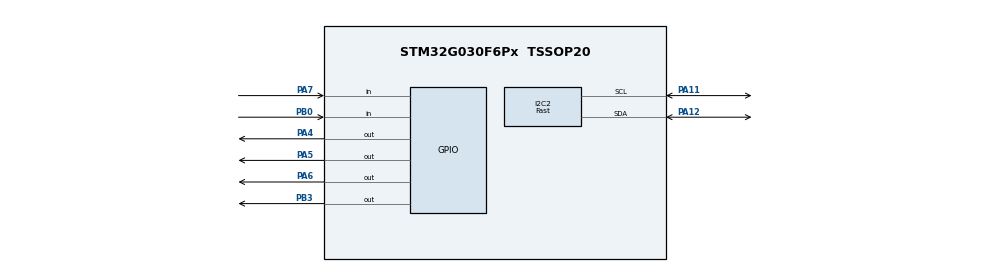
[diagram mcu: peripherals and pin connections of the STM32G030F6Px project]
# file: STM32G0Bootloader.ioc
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CRC.DefaultInitValueUse=DEFAULT_INIT_VALUE_DISABLE
CRC.InitValue=0xffffffff
CRC.InputDataInversionMode=CRC_INPUTDATA_INVERSION_BYTE
CRC.OutputDataInversionMode=CRC_OUTPUTDATA_INVERSION_ENABLE
I2C2.I2C_Speed_Mode=I2C_Fast
I2C2.OwnAddress=0x54<<1
I2C2.Timing=0x0010061A
Mcu.Family=STM32G0
Mcu.Name=STM32G030F6Px
Mcu.Package=TSSOP20
NVIC.I2C2_IRQn=true\:0\:0\:false\:false\:true\:true\:true\:true
PA11\ [PA9].Mode=I2C
PA11\ [PA9].Signal=I2C2_SCL
PA12\ [PA10].Mode=I2C
PA12\ [PA10].Signal=I2C2_SDA
PA13.Mode=Serial_Wire
PA13.Signal=SYS_SWDIO
PA14-BOOT0.Mode=Serial_Wire
PA14-BOOT0.Signal=SYS_SWCLK
PA14-BOOT0__PA15.StandardMode=true
PA4.Signal=GPIO_Output
PA5.Signal=GPIO_Output
PA6.Signal=GPIO_Output
PA7.Signal=GPIO_Input
PB0.Signal=GPIO_Input
PB0__PB1__PB2__PA8.StandardMode=true
PB3.Signal=GPIO_Output
PB3__PB4__PB5__PB6.StandardMode=true
PB7__PB8.StandardMode=true
PC14-OSC32_IN\ (PC14)__PB9.StandardMode=true
ProjectManager.HeapSize=0x200
ProjectManager.StackSize=0x400
ProjectManager.TargetToolchain=MDK-ARM V5
RCC.AHBFreq_Value=16000000
RCC.CortexFreq_Value=16000000
RCC.EXTERNAL_CLOCK_VALUE=12288000
RCC.HCLKFreq_Value=16000000
RCC.HSE_VALUE=8000000
RCC.HSI_VALUE=16000000
RCC.LSE_VALUE=32768
RCC.SYSCLKFreq_VALUE=16000000
RCC.VCOOutputFreq_Value=128000000
VP_CRC_VS_CRC.Mode=CRC_Activate
board=custom

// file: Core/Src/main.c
/* USER CODE BEGIN Header */
/**
  ******************************************************************************
  * @file           : main.c
  * @brief          : Main program body
  ******************************************************************************
  * @attention
  *
  * Copyright (c) 2023 STMicroelectronics.
  * All rights reserved.
  *
  * This software is licensed under terms that can be found in the LICENSE file
  * in the root directory of this software component.
  * If no LICENSE file comes with this software, it is provided AS-IS.
  *
  ******************************************************************************
  */
/* USER CODE END Header */
#include "main.h"

/* USER CODE BEGIN Includes */
#include "stm32g0xx_hal_flash_ex.h"
/* USER CODE END Includes */

/* USER CODE BEGIN PTD */
typedef enum {NOEVENT = 0, //not enevt happen
              EVENT_OPCOD_NOTYET_READ = 1,//operation code not been read
              EVENT_OPCOD_READ =2,//operation code has been readed
              EVENT_OPCOD_SEND =3,//Feedback the status of MCU
              EVENT_OPCOD_BUSY_RECEIVE =4//I2C is in Busy of receive status
             // EVENT_OPCOD_BUSY_SEND =5 //i2C is busy of send
}EventStatus;
/* USER CODE END PTD */

/* USER CODE BEGIN PD */
typedef  void (*pFunction)(void);
/*this address is define */
#define APPLICATION_ADDRESS  0x08001800
#define FW_LENGTH (((uint32_t)0x7800) - ((uint32_t)0x1800))
#define FW_CRC_ADDR (((uint32_t)0x08007800) - 4)

/* Error codes used to make the red led blinking */
#define ERROR_ERASE 0x01
#define ERROR_PROG  0x02
#define ERROR_HALF_PROG 0x04
#define ERROR_PROG_FLAG 0x08
#define ERROR_WRITE_PROTECTION 0x10
#define ERROR_FETCH_DURING_ERASE 0x20
#define ERROR_FETCH_DURING_PROG 0x40
#define ERROR_SIZE 0x80
#define ERROR_ALIGNMENT 0x100
#define ERROR_NOT_ZERO 0x200
#define ERROR_UNKNOWN 0x400
#define ERROR_I2C       0x01
#define ERROR_HSI_TIMEOUT 0x55
#define ERROR_PLL_TIMEOUT 0xAA
#define ERROR_CLKSWITCH_TIMEOUT 0xBB

//#define  OPC_READ       (uint8_t)(0x03)
#define  OPC_WREN       (uint8_t)(0x06)
//#define  OPC_ERPG       (uint8_t)(0x20)
//#define  OPC_ERUSM      (uint8_t)(0x44)
#define  OPC_USRCD      (uint8_t)(0x77)

#define STM32G0xx_PAGE_SIZE 0x800
#define STM32G0xx_FLASH_PAGE0_STARTADDR 0x8000000
#define STM32G0xx_FLASH_PAGE1_STARTADDR (STM32G0xx_FLASH_PAGE0_STARTADDR+STM32G0xx_PAGE_SIZE)
#define STM32G0xx_FLASH_PAGE2_STARTADDR (STM32G0xx_FLASH_PAGE0_STARTADDR+2*STM32G0xx_PAGE_SIZE)
#define STM32G0xx_FLASH_PAGE3_STARTADDR (STM32G0xx_FLASH_PAGE0_STARTADDR+3*STM32G0xx_PAGE_SIZE)
#define STM32G0xx_FLASH_PAGE4_STARTADDR (STM32G0xx_FLASH_PAGE0_STARTADDR+4*STM32G0xx_PAGE_SIZE)
#define STM32G0xx_FLASH_PAGE5_STARTADDR (STM32G0xx_FLASH_PAGE0_STARTADDR+5*STM32G0xx_PAGE_SIZE)
#define STM32G0xx_FLASH_PAGE6_STARTADDR (STM32G0xx_FLASH_PAGE0_STARTADDR+6*STM32G0xx_PAGE_SIZE)
#define STM32G0xx_FLASH_PAGE7_STARTADDR (STM32G0xx_FLASH_PAGE0_STARTADDR+7*STM32G0xx_PAGE_SIZE)
#define STM32G0xx_FLASH_PAGE8_STARTADDR (STM32G0xx_FLASH_PAGE0_STARTADDR+8*STM32G0xx_PAGE_SIZE)
#define STM32G0xx_FLASH_PAGE9_STARTADDR (STM32G0xx_FLASH_PAGE0_STARTADDR+9*STM32G0xx_PAGE_SIZE)
#define STM32G0xx_FLASH_PAGE10_STARTADDR (STM32G0xx_FLASH_PAGE0_STARTADDR+10*STM32G0xx_PAGE_SIZE)
#define STM32G0xx_FLASH_PAGE11_STARTADDR (STM32G0xx_FLASH_PAGE0_STARTADDR+11*STM32G0xx_PAGE_SIZE)
#define STM32G0xx_FLASH_PAGE12_STARTADDR (STM32G0xx_FLASH_PAGE0_STARTADDR+12*STM32G0xx_PAGE_SIZE)
#define STM32G0xx_FLASH_PAGE13_STARTADDR (STM32G0xx_FLASH_PAGE0_STARTADDR+13*STM32G0xx_PAGE_SIZE)
#define STM32G0xx_FLASH_PAGE14_STARTADDR (STM32G0xx_FLASH_PAGE0_STARTADDR+14*STM32G0xx_PAGE_SIZE)
#define STM32G0xx_FLASH_PAGE15_STARTADDR (STM32G0xx_FLASH_PAGE0_STARTADDR+15*STM32G0xx_PAGE_SIZE)

// #define FLASH_PAGE_SIZE         ((uint32_t)0x00000800)   /* FLASH Page Size */
#define FLASH_USER_START_ADDR   STM32G0xx_FLASH_PAGE5_STARTADDR   /* Start @ of user Flash area */
#define FLASH_USER_END_ADDR     STM32G0xx_FLASH_PAGE6_STARTADDR   /* End @ of user Flash area */
#define DATA_32                 ((uint32_t)0x22446688)
/* USER CODE END PD */

CRC_HandleTypeDef hcrc;

/* USER CODE BEGIN PV */
uint16_t I2C_Receive_Counter=0;
//uint8_t I2C_Send_Counter=0;
uint8_t Receive_Buffer[2056];
EventStatus i2c_event= NOEVENT;
volatile uint16_t error;
uint32_t NbrOfPage = 0x00;
uint32_t EraseCounter = 0x00, Address = 0x00;
// __IO FLASH_Status FLASHStatus = FLASH_COMPLETE;
// __IO TestStatus MemoryProgramStatus = PASSED;
uint32_t JumpAddress;
pFunction JumpToApplication;
uint8_t opcode;
/* USER CODE END PV */

void SystemClock_Config(void);
static void MX_GPIO_Init(void);
static void MX_I2C2_Init(void);
static void MX_CRC_Init(void);

/* USER CODE BEGIN 0 */
uint8_t compute_fw_crc32(void)
{
    uint32_t crcsum, crc_read, len;
    uint8_t *pdata = (uint8_t*)APPLICATION_ADDRESS;

    len = FW_LENGTH - 4;
    crc_read = *(uint32_t*)FW_CRC_ADDR;

    crcsum = HAL_CRC_Calculate(&hcrc, (uint32_t *)pdata, len)^0xffffffff;
    // crcsum = My_CRC(pdata, len);

    if (crc_read == crcsum)
        return 1;
    else
        return 0;
}
/**
  * @brief  Gets the page of a given address
  * @param  Addr: Address of the FLASH Memory
  * @retval The page of a given address
  */
static uint32_t GetPage(uint32_t Addr)
{
  return (Addr - STM32G0xx_FLASH_PAGE0_STARTADDR) / FLASH_PAGE_SIZE;;
}

/**
  * Brief   This function handles I2C2 interrupt request.
  * Param   None
  * Retval  I2C2 always as slave of i2c conmunication
  */
void I2C2_IRQHandler(void)
{
	uint32_t I2C_InterruptStatus = I2C2->ISR; /* Get interrupt status */

  if((I2C_InterruptStatus & I2C_ISR_ADDR) == I2C_ISR_ADDR) /* Check address match */
  {
    I2C2->ICR |= I2C_ICR_ADDRCF;                        /* Clear address match flag*/

    if((I2C2->ISR & I2C_ISR_DIR) == I2C_ISR_DIR) /* Check if transfer direction is read (slave transmitter) */
    {
      I2C2->CR1 |= I2C_CR1_TXIE;        /* Set transmit IT /status*/
      i2c_event=EVENT_OPCOD_SEND;              /* Set I2C  entor transmit mode*/

    }
    else   /*Write operation, slave receive status*/
    {
      I2C2->CR1 |= I2C_CR1_RXIE; /* Set receive IT /status*/
      i2c_event=EVENT_OPCOD_BUSY_RECEIVE; /* Set I2C  entor receive mode*/
    }

   I2C2->CR1 |=I2C_CR1_STOPIE;//Enable STOP interrupt

  }
  else if((I2C_InterruptStatus & I2C_ISR_TXIS) == I2C_ISR_TXIS)
  {
    //add some application code in this place
  }
      /*check RXDR is not empty*/
  else if((I2C_InterruptStatus & I2C_ISR_RXNE) == I2C_ISR_RXNE)
  {
    //I2C_ISR_RXNE add you code in this place Tomas Li add
    Receive_Buffer[I2C_Receive_Counter++]= I2C2->RXDR;
    i2c_event=EVENT_OPCOD_BUSY_RECEIVE;//slave is busy for receive data

  }
  else if((I2C_InterruptStatus & I2C_ISR_NACKF) == I2C_ISR_NACKF)
  {

  }
  /*check Stop event happen */
  if((I2C_InterruptStatus & I2C_ISR_STOPF) == I2C_ISR_STOPF)
  {

      I2C2->ICR |=I2C_ICR_STOPCF;//clear the STOP interrupt Flag

#if 1
    switch(i2c_event){
    case EVENT_OPCOD_BUSY_RECEIVE://slave receive status Stop flag
      I2C_Receive_Counter=0;
      i2c_event = EVENT_OPCOD_NOTYET_READ;

      I2C2->CR1 &= ~(I2C_CR1_STOPIE); //Disable all interrupt.except Error interrupt
      I2C2->CR2 |= I2C_CR2_NACK;//set feedback Nack in next event
      I2C2->CR1 |= I2C_CR1_ADDRIE;
        break;
    case EVENT_OPCOD_SEND: //slave send stop
      I2C2->ICR |=I2C_ICR_STOPCF | I2C_ICR_NACKCF |I2C_ICR_BERRCF;//clear the STOP interrupt Flag
      I2C2->CR1 |=I2C_CR1_ADDRIE;
      i2c_event = NOEVENT;

        break;
    default:

        break;

    }
#endif

  }
  else
  {
    error = ERROR_I2C; /* Report an error */

  }
}

void Reset_AllPeriph(void)
{
  LL_I2C_DeInit(I2C2);
  LL_I2C_DisableAutoEndMode(I2C2);
  LL_I2C_Disable(I2C2);
  LL_I2C_DisableIT_ADDR(I2C2);
  SysTick->CTRL=0;
  SYSCFG->CFGR1 &= SYSCFG_CFGR1_MEM_MODE;
  NVIC->ICER[0] = 0xFFFFFFFF;
  NVIC->ICPR[0] = 0xFFFFFFFF;
  /* Set EXTICRx registers to reset value */
  EXTI->EXTICR[0] = 0;
  EXTI->EXTICR[1] = 0;
  EXTI->EXTICR[2] = 0;
  EXTI->EXTICR[3] = 0;
  /* Set CFGR2 register to reset value: clear SRAM parity error flag */
  SYSCFG->CFGR2 |= (uint32_t) SYSCFG_CFGR2_SRAM_PE;
  LL_RCC_DeInit();
  __HAL_SYSCFG_CLEAR_FLAG();
	HAL_CRC_DeInit(&hcrc);
	HAL_DeInit();
	SysTick->CTRL = 0;
	SysTick->LOAD = 0;
	SysTick->VAL = 0;
}

void Jump_APP(void)
{
  if (compute_fw_crc32()) {
      /*check the application address context whether avilible*/
                if (((*(__IO uint32_t*)APPLICATION_ADDRESS) & 0x2FFE0000 ) == 0x20000000)
                {
                  Reset_AllPeriph();
                  SCB->VTOR = APPLICATION_ADDRESS;
                  /* Jump to user application */
                  JumpAddress = *(__IO uint32_t*) (APPLICATION_ADDRESS +4);
                  JumpToApplication = (pFunction) JumpAddress;
                  /* Initialize user application's Stack Pointer */
                  __set_MSP(*(__IO uint32_t*) APPLICATION_ADDRESS);
                  JumpToApplication();
                }
  }

}

void Write_Code(void)
{
    uint16_t Number_Bytes_Transferred = 0;
    uint32_t Add_Flash, end_add_flash;
    uint64_t Data = 0;
    uint16_t Data_index = 8;
    uint32_t PageError = 0;                    //设置PageError,如果出现错误这个变量会被设置为出错的FLASH地址
    FLASH_EraseInitTypeDef My_Flash;
    uint32_t PageNum = 0;

    Add_Flash = Receive_Buffer[1]<<24|
                Receive_Buffer[2]<<16|
                Receive_Buffer[3]<<8|
                Receive_Buffer[4]<<0;
    end_add_flash = Add_Flash + 2048;

    Number_Bytes_Transferred=(Receive_Buffer[5]<<8)+ Receive_Buffer[6];

    if(Number_Bytes_Transferred > 0)
    {
      if(__HAL_FLASH_GET_FLAG(FLASH_FLAG_CFGBSY) != 0x00U) {
        *(uint32_t *)(Add_Flash + 600) = 12323;
        FLASH->SR = FLASH_SR_CLEAR;
      }
step_unlock:
      if(HAL_FLASH_Unlock() != HAL_OK) {
        goto step_unlock;
      }

      PageNum = GetPage(Add_Flash);

      My_Flash.TypeErase = FLASH_TYPEERASE_PAGES;  //标明Flash执行页面只做擦除操作
      My_Flash.Page        = PageNum;
      My_Flash.NbPages = 1;                        //说明要擦除的页数，此参数必须是Min_Data = 1和Max_Data =(�????大页�????-初始页的�????)之间的�??

step_erase:
      FLASH_WaitForLastOperation(50);
      if (HAL_FLASHEx_Erase(&My_Flash, &PageError) != HAL_OK) {
        goto step_erase;
      }  //调用擦除函数擦除

      while (Add_Flash < end_add_flash) {
        Data = Receive_Buffer[Data_index] | ((uint64_t)Receive_Buffer[Data_index+1] << 8) \
        | ((uint64_t)Receive_Buffer[Data_index+2] << 16) | ((uint64_t)Receive_Buffer[Data_index+3] << 24) \
        | ((uint64_t)Receive_Buffer[Data_index+4] << 32) | ((uint64_t)Receive_Buffer[Data_index+5] << 40) \
        | ((uint64_t)Receive_Buffer[Data_index+6] << 48) | ((uint64_t)Receive_Buffer[Data_index+7] << 56);

step_write:
        FLASH_WaitForLastOperation(50);
        if (HAL_FLASH_Program(FLASH_TYPEPROGRAM_DOUBLEWORD, Add_Flash, Data) != HAL_OK)
        {
          goto step_write;
        }
        Add_Flash = Add_Flash + 8;
        Data_index = Data_index + 8;
        // else
        // {
        //   /* Error occurred while writing data in Flash memory.
        //     User can add here some code to deal with this error */
        //   while (1)
        //   {
        //   }
        // }
      }
      HAL_FLASH_Lock();
      FLASH_WaitForLastOperation(50);
    }
    for (int i = 0; i < sizeof(Receive_Buffer); i++) {
      Receive_Buffer[i] = 0;
    }

}

void iap_i2c(void)
{

  /*this is a endless loop for process the data from Host side*/
  while(1)
  {
    //Tomas_Li_Test();//Just for Test

    if (i2c_event == EVENT_OPCOD_NOTYET_READ)
    {

      NVIC_DisableIRQ(I2C2_IRQn);
      i2c_event=NOEVENT;//changed the status
      /* Read opcode */
      opcode = Receive_Buffer[0];
      switch (opcode)
      {
          case OPC_WREN:
            Write_Code();
            break;

          case OPC_USRCD:
            Jump_APP();
            // HAL_NVIC_SystemReset();
            break;

          default:
          break;
      }
      NVIC_EnableIRQ(I2C2_IRQn);
      I2C2->CR1 |=I2C_CR1_ADDRIE;//Open address and Stop interrupt
      LL_I2C_Enable(I2C2);
      LL_I2C_EnableIT_ADDR(I2C2);

    }
  }
}

static void iap_gpio_init(void)
{
  GPIO_InitTypeDef GPIO_InitStruct = {0};

  /* GPIO Ports Clock Enable */
  __HAL_RCC_GPIOB_CLK_ENABLE();
  __HAL_RCC_GPIOC_CLK_ENABLE();
  __HAL_RCC_GPIOA_CLK_ENABLE();

  /*Configure GPIO pin Output Level */
  HAL_GPIO_WritePin(GPIOA, GPIO_PIN_11, GPIO_PIN_RESET);

  /*Configure GPIO pin Output Level */
  HAL_GPIO_WritePin(GPIOA, GPIO_PIN_12, GPIO_PIN_RESET);

  /*Configure GPIO pin : PB7 */
  GPIO_InitStruct.Pin = GPIO_PIN_11;
  GPIO_InitStruct.Mode = GPIO_MODE_INPUT;
  GPIO_InitStruct.Pull = GPIO_PULLUP;
  GPIO_InitStruct.Speed = GPIO_SPEED_FREQ_LOW;
  HAL_GPIO_Init(GPIOA, &GPIO_InitStruct);

  /*Configure GPIO pin : PC14 */
  GPIO_InitStruct.Pin = GPIO_PIN_12;
  GPIO_InitStruct.Mode = GPIO_MODE_INPUT;
  GPIO_InitStruct.Pull = GPIO_PULLUP;
  GPIO_InitStruct.Speed = GPIO_SPEED_FREQ_LOW;
  HAL_GPIO_Init(GPIOA, &GPIO_InitStruct);
}
/* USER CODE END 0 */

int main(void)
{

  /* MCU Configuration--------------------------------------------------------*/

  /* Reset of all peripherals, Initializes the Flash interface and the Systick. */
  HAL_Init();

  /* Configure the system clock */
  SystemClock_Config();

  /* Initialize all configured peripherals */
  MX_GPIO_Init();
  // MX_I2C2_Init();
  MX_CRC_Init();
  /* USER CODE BEGIN 2 */
  iap_gpio_init();

  LL_mDelay(300);
  if ((!(!!(GPIOA->IDR & GPIO_PIN_11))) && (!(!!(GPIOA->IDR & GPIO_PIN_12)))) {
    MX_I2C2_Init();
    LL_I2C_Enable(I2C2);
    LL_I2C_EnableIT_ADDR(I2C2);
    iap_i2c();
  } else {
    Jump_APP();
    MX_I2C2_Init();
    LL_I2C_Enable(I2C2);
    LL_I2C_EnableIT_ADDR(I2C2);
    iap_i2c();
  }
  /* USER CODE END 2 */

  /* Infinite loop */
  while (1)
  {

  }
}

void SystemClock_Config(void)
{
  /* HSI configuration and activation */
  LL_RCC_HSI_Enable();
  while(LL_RCC_HSI_IsReady() != 1)
  {
  }

  /* Set AHB prescaler*/
  LL_RCC_SetAHBPrescaler(LL_RCC_SYSCLK_DIV_1);

  /* Sysclk activation on the HSI */
  LL_RCC_SetSysClkSource(LL_RCC_SYS_CLKSOURCE_HSI);
  while(LL_RCC_GetSysClkSource() != LL_RCC_SYS_CLKSOURCE_STATUS_HSI)
  {
  }

  /* Set APB1 prescaler*/
  LL_RCC_SetAPB1Prescaler(LL_RCC_APB1_DIV_1);
  /* Update CMSIS variable (which can be updated also through SystemCoreClockUpdate function) */
  LL_SetSystemCoreClock(16000000);

   /* Update the time base */
  if (HAL_InitTick (TICK_INT_PRIORITY) != HAL_OK)
  {
    Error_Handler();
  }
}

static void MX_CRC_Init(void)
{

  hcrc.Instance = CRC;
  hcrc.Init.DefaultPolynomialUse = DEFAULT_POLYNOMIAL_ENABLE;
  hcrc.Init.DefaultInitValueUse = DEFAULT_INIT_VALUE_DISABLE;
  hcrc.Init.InitValue = 0xffffffff;
  hcrc.Init.InputDataInversionMode = CRC_INPUTDATA_INVERSION_BYTE;
  hcrc.Init.OutputDataInversionMode = CRC_OUTPUTDATA_INVERSION_ENABLE;
  hcrc.InputDataFormat = CRC_INPUTDATA_FORMAT_BYTES;
  if (HAL_CRC_Init(&hcrc) != HAL_OK)
  {
    Error_Handler();
  }

}

static void MX_I2C2_Init(void)
{

  LL_I2C_InitTypeDef I2C_InitStruct = {0};

  LL_GPIO_InitTypeDef GPIO_InitStruct = {0};

  LL_IOP_GRP1_EnableClock(LL_IOP_GRP1_PERIPH_GPIOA);
  /**I2C2 GPIO Configuration
  PA11 [PA9]   ------> I2C2_SCL
  PA12 [PA10]   ------> I2C2_SDA
  */
  GPIO_InitStruct.Pin = LL_GPIO_PIN_11;
  GPIO_InitStruct.Mode = LL_GPIO_MODE_ALTERNATE;
  GPIO_InitStruct.Speed = LL_GPIO_SPEED_FREQ_LOW;
  GPIO_InitStruct.OutputType = LL_GPIO_OUTPUT_OPENDRAIN;
  GPIO_InitStruct.Pull = LL_GPIO_PULL_NO;
  GPIO_InitStruct.Alternate = LL_GPIO_AF_6;
  LL_GPIO_Init(GPIOA, &GPIO_InitStruct);

  GPIO_InitStruct.Pin = LL_GPIO_PIN_12;
  GPIO_InitStruct.Mode = LL_GPIO_MODE_ALTERNATE;
  GPIO_InitStruct.Speed = LL_GPIO_SPEED_FREQ_LOW;
  GPIO_InitStruct.OutputType = LL_GPIO_OUTPUT_OPENDRAIN;
  GPIO_InitStruct.Pull = LL_GPIO_PULL_NO;
  GPIO_InitStruct.Alternate = LL_GPIO_AF_6;
  LL_GPIO_Init(GPIOA, &GPIO_InitStruct);

  /* Peripheral clock enable */
  LL_APB1_GRP1_EnableClock(LL_APB1_GRP1_PERIPH_I2C2);

  /* I2C2 interrupt Init */
  NVIC_SetPriority(I2C2_IRQn, 0);
  NVIC_EnableIRQ(I2C2_IRQn);

  /** I2C Initialization
  */
  I2C_InitStruct.PeripheralMode = LL_I2C_MODE_I2C;
  I2C_InitStruct.Timing = 0x0010061A;
  I2C_InitStruct.AnalogFilter = LL_I2C_ANALOGFILTER_ENABLE;
  I2C_InitStruct.DigitalFilter = 0;
  I2C_InitStruct.OwnAddress1 = 0x54<<1;
  I2C_InitStruct.TypeAcknowledge = LL_I2C_ACK;
  I2C_InitStruct.OwnAddrSize = LL_I2C_OWNADDRESS1_7BIT;
  LL_I2C_Init(I2C2, &I2C_InitStruct);
  LL_I2C_EnableAutoEndMode(I2C2);
  LL_I2C_SetOwnAddress2(I2C2, 0, LL_I2C_OWNADDRESS2_NOMASK);
  LL_I2C_DisableOwnAddress2(I2C2);
  LL_I2C_DisableGeneralCall(I2C2);
  LL_I2C_EnableClockStretching(I2C2);

}

static void MX_GPIO_Init(void)
{
  GPIO_InitTypeDef GPIO_InitStruct = {0};

  /* GPIO Ports Clock Enable */
  __HAL_RCC_GPIOA_CLK_ENABLE();
  __HAL_RCC_GPIOB_CLK_ENABLE();

  /*Configure GPIO pin Output Level */
  HAL_GPIO_WritePin(GPIOA, GPIO_PIN_4|GPIO_PIN_5|GPIO_PIN_6, GPIO_PIN_RESET);

  /*Configure GPIO pin Output Level */
  HAL_GPIO_WritePin(GPIOB, GPIO_PIN_3, GPIO_PIN_RESET);

  /*Configure GPIO pins : PA4 PA5 PA6 */
  GPIO_InitStruct.Pin = GPIO_PIN_4|GPIO_PIN_5|GPIO_PIN_6;
  GPIO_InitStruct.Mode = GPIO_MODE_OUTPUT_PP;
  GPIO_InitStruct.Pull = GPIO_NOPULL;
  GPIO_InitStruct.Speed = GPIO_SPEED_FREQ_LOW;
  HAL_GPIO_Init(GPIOA, &GPIO_InitStruct);

  /*Configure GPIO pin : PA7 */
  GPIO_InitStruct.Pin = GPIO_PIN_7;
  GPIO_InitStruct.Mode = GPIO_MODE_INPUT;
  GPIO_InitStruct.Pull = GPIO_NOPULL;
  HAL_GPIO_Init(GPIOA, &GPIO_InitStruct);

  /*Configure GPIO pin : PB0 */
  GPIO_InitStruct.Pin = GPIO_PIN_0;
  GPIO_InitStruct.Mode = GPIO_MODE_INPUT;
  GPIO_InitStruct.Pull = GPIO_NOPULL;
  HAL_GPIO_Init(GPIOB, &GPIO_InitStruct);

  /*Configure GPIO pin : PB3 */
  GPIO_InitStruct.Pin = GPIO_PIN_3;
  GPIO_InitStruct.Mode = GPIO_MODE_OUTPUT_PP;
  GPIO_InitStruct.Pull = GPIO_NOPULL;
  GPIO_InitStruct.Speed = GPIO_SPEED_FREQ_LOW;
  HAL_GPIO_Init(GPIOB, &GPIO_InitStruct);

}

void Error_Handler(void)
{
  __disable_irq();
  while (1)
  {
  }
}
